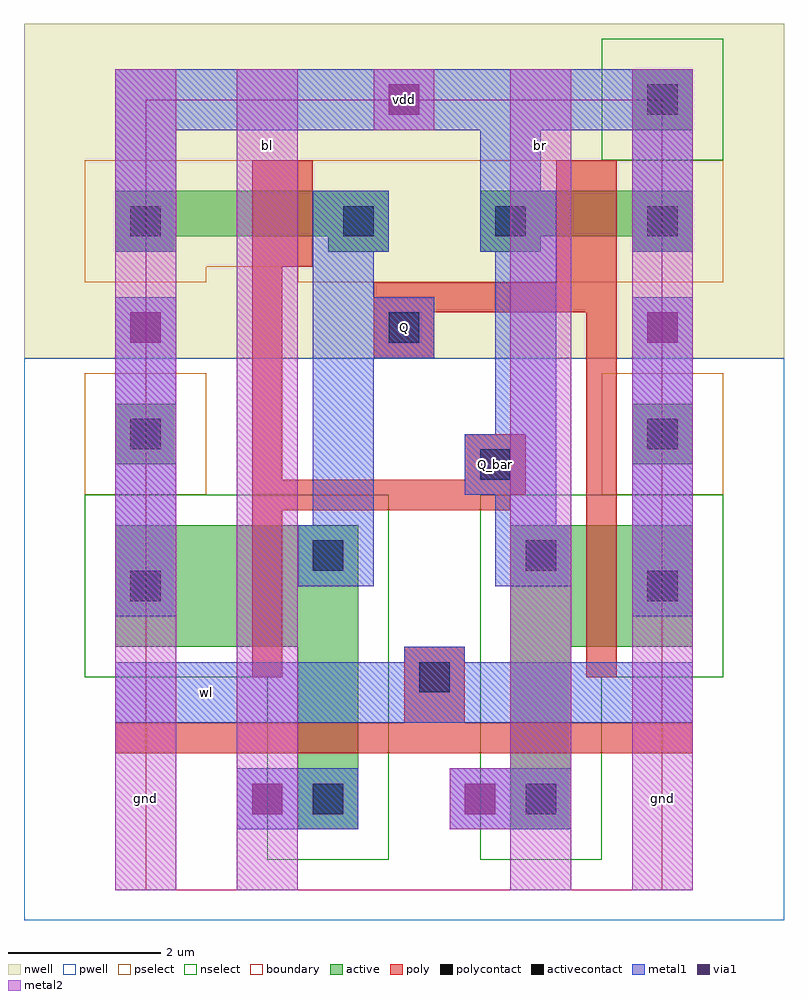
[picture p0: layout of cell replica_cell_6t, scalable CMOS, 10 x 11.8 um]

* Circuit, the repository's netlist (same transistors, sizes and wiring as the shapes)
*********************** "cell_6t" ******************************
.SUBCKT replica_cell_6t bl br wl vdd gnd
* SPICE3 file created from cell_6t.ext - technology: scmos

* Inverter 1
M1000 Q vdd vdd vdd p w=0.6u l=0.8u
M1002 Q vdd gnd gnd n w=1.6u l=0.4u

* Inverter 2
M1001 vdd Q vdd vdd p w=0.6u l=0.8u
M1003 gnd Q vdd gnd n w=1.6u l=0.4u

* Access transistors
M1004 Q wl bl gnd n w=0.8u l=0.4u
M1005 vdd wl br gnd n w=0.8u l=0.4u

.ENDS

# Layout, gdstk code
import gdstk
lib = gdstk.Library(unit=1e-6, precision=1e-09)
def R(c, l, rs):  # rectangles x0, y0, x1, y1
    for r in rs: c.add(gdstk.rectangle(r[:2], r[2:], *l))
def A(c, l, x, y, w, h, nx, ny, dx, dy):  # array of equal rectangles
    R(c, l, [(x+i*dx, y+j*dy, x+i*dx+w, y+j*dy+h) for i in range(nx) for j in range(ny)])
pwell = (41, 0)
nwell = (42, 0)
active = (43, 0)
pselect = (44, 0)
nselect = (45, 0)
poly = (46, 0)
polycontact = (47, 0)
activecontact = (48, 0)
metal1 = (49, 0)
via1 = (50, 0)
metal2 = (51, 0)
boundary = (63, 0)

replica_cell_6t = lib.new_cell('replica_cell_6t')
R(replica_cell_6t, pwell, [(-1.6,-0.4,8.4,7)])
R(replica_cell_6t, nwell, [(-1.6,7,8.4,11.4)])
A(replica_cell_6t, active, 2.4, 8.4, 0.8, 0.2, 3, 1, 2, 0)
R(replica_cell_6t, active, [(2,0.8,2.8,3.2), (4.8,0.8,5.6,3.2), (-0.4,3.2,2.8,4.8), (4.8,3.2,7.2,4.8), (-0.4,5.6,0.4,6.4), (6.4,5.6,7.2,6.4), (-0.4,8.4,0.4,8.6), (-0.4,8.6,3.2,9.2), (4.4,8.6,7.2,9.2), (6.4,10,7.2,10.8)])
R(replica_cell_6t, pselect, [(-0.8,5.2,0.8,6.8), (6,5.2,7.6,6.8), (-0.8,8,0.8,8.2), (2,8,7.6,8.2), (-0.8,8.2,7.6,9.6)])
R(replica_cell_6t, nselect, [(1.6,0.4,3.2,2.8), (4.4,0.4,6,2.8), (-0.8,2.8,3.2,5.2), (4.4,2.8,7.6,5.2), (6,9.6,7.6,11.2)])
R(replica_cell_6t, poly, [(-0.4,1.8,7.2,2.2), (3.4,2.2,4.2,3.2), (1.4,2.8,1.8,5), (5.8,2.8,6.2,7.6), (1.4,5,4.8,5.2), (1.4,5.2,5,5.4), (1.4,5.4,1.8,8.2), (4.2,5.4,5,6), (3,7,3.8,7.6), (3,7.6,6.2,8), (5.4,8,6.2,9.6), (1.4,8.2,2.2,9.6)])
R(replica_cell_6t, polycontact, [(3.6,2.6,4,3), (4.4,5.4,4.8,5.8), (3.2,7.2,3.6,7.6)])
A(replica_cell_6t, activecontact, 2.6, 8.6, 0.4, 0.4, 3, 1, 2, 0)
R(replica_cell_6t, activecontact, [(2.2,1,2.6,1.4), (5,1,5.4,1.4), (-0.2,3.8,0.2,4.2), (6.6,3.8,7,4.2), (2.2,4.2,2.6,4.6), (5,4.2,5.4,4.6), (-0.2,5.8,0.2,6.2), (6.6,5.8,7,6.2), (-0.2,8.6,0.2,9), (6.6,10.2,7,10.6)])
R(replica_cell_6t, metal1, [(1.2,0.8,2.8,1.6), (4,0.8,5.6,1.6), (-0.4,2.2,7.2,3), (3.4,3,4.2,3.2), (-0.4,3.6,0.4,7.8), (6.4,3.6,7.2,7.8), (2,4,3,4.8), (4.6,4,5.6,4.8), (2.2,4.8,3,7), (4.6,4.8,5.4,5.2), (4.2,5.2,5.4,6), (4.6,6,5.4,8.4), (2.2,7,3.8,7.8), (2.2,7.8,3,8.4), (-0.4,8.4,0.4,10), (2.2,8.4,3.2,9.2), (4.4,8.4,5.4,9.2), (6.4,8.4,7.2,10), (4.4,9.2,5.2,10), (-0.4,10,7.2,10.8)])
R(replica_cell_6t, via1, [(1.4,1,1.8,1.4), (4.2,1,4.6,1.4), (-0.2,7.2,0.2,7.6), (6.6,7.2,7,7.6), (3.2,10.2,3.6,10.6)])
R(replica_cell_6t, metal2, [(-0.4,0,0.4,10.8), (1.2,0,2,10.8), (4.8,0,5.6,0.8), (6.4,0,7.2,10.8), (4,0.8,5.6,1.6), (4.8,1.6,5.6,10.8), (3,10,3.8,10.8)])
R(replica_cell_6t, boundary, [(0,0,6.8,10.4)])
replica_cell_6t.add(gdstk.Label('gnd', (0,1.2), layer=51, texttype=0))
replica_cell_6t.add(gdstk.Label('gnd', (6.8,1.2), layer=51, texttype=0))
replica_cell_6t.add(gdstk.Label('vdd', (3.4,10.4), layer=51, texttype=0))
replica_cell_6t.add(gdstk.Label('bl', (1.6,9.8), layer=51, texttype=0))
replica_cell_6t.add(gdstk.Label('br', (5.2,9.8), layer=51, texttype=0))
replica_cell_6t.add(gdstk.Label('wl', (0.8,2.6), layer=49, texttype=0))
replica_cell_6t.add(gdstk.Label('Q', (3.4,7.4), layer=49, texttype=0))
replica_cell_6t.add(gdstk.Label('Q_bar', (4.6,5.6), layer=49, texttype=0))

lib.write_gds('replica_cell_6t.gds')
